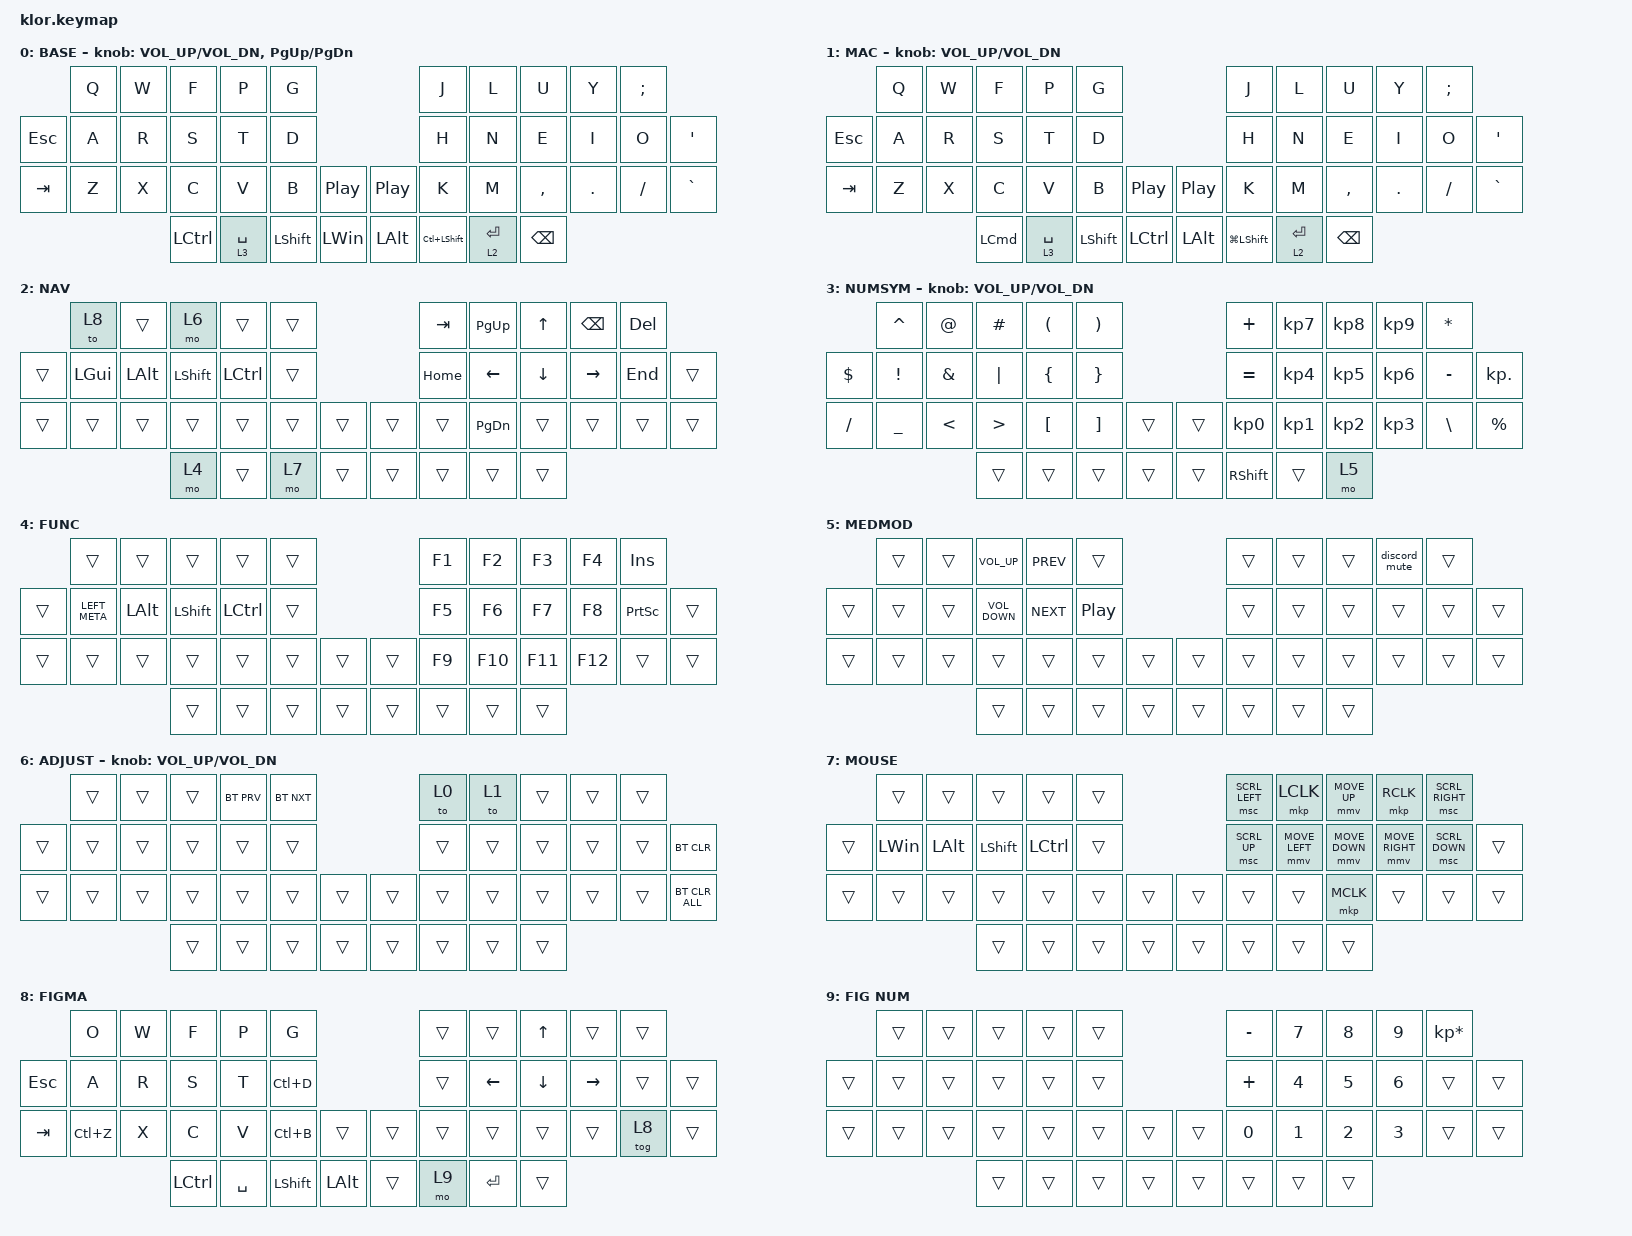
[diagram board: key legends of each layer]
//                               █         █    █            ▄▄▄▀▀▀▀▀▀▄▄▄        █▀▀▀▀▀▀▀▀▀▀█
//                               █        █     █          ▄▀            ▀▄      █          █
//                               █       █      █        ▄▀                ▀▄    █          █
//                               █      █       █        █                  █    █          █
//                               █     █        █       █                    █   █          █
//                               █    █         █       █                    █   █▄▄▄▄▄▄▄▄▄▄█
//                               █   █ █        █       █                    █   █      █
//                               █  █   █       █        █                  █    █       █
//                               █ █     █      █        ▀▄                ▄▀    █        █
//                               ██       █     █          ▀▄            ▄▀      █         █
//                               █         █    █▄▄▄▄▄▄▄▄    ▀▀▀▄▄▄▄▄▄▀▀▀        █          █
//
// ▄▄▄▄▄▄▄▄▄▄▄▄▄▄▄▄▄▄▄▄▄▄▄▄▄▄▄▄▄▄▄▄▄▄▄▄▄▄▄▄▄▄▄▄▄▄▄▄▄▄▄▄▄▄▄▄▄▄▄▄▄▄▄▄▄▄▄▄▄▄▄▄▄▄▄▄▄▄▄▄▄▄▄▄▄▄▄▄▄▄▄▄▄▄▄▄▄▄▄▄▄▄▄▄▄▄▄▄▄▄▄▄▄▄▄▄▄▄▄▄▄▄▄▄▄

#include <behaviors.dtsi>
#include <dt-bindings/zmk/bt.h>
#include <dt-bindings/zmk/keys.h>
#include <dt-bindings/zmk/pointing.h>

#define BASE   0
#define NAV  1
#define NUMSYM  2
#define FUNC 3
#define MEDMOD 4
#define ADJUST 5
#define MOUSE 6
#define ZMK_POINTING_DEFAULT_MOVE_VAL 1500  // default: 600
#define ZMK_POINTING_DEFAULT_SCRL_VAL 20    // default: 10

/ {
    behaviors {
        hm: homerow_mods {
            compatible = "zmk,behavior-hold-tap";
            label = "HOMEROW_MODS";
            #binding-cells = <2>;
            tapping-term-ms = <150>;
            quick_tap_ms = <0>;
            flavor = "tap-preferred";
            bindings = <&kp>, <&kp>;
        };
    };

    combos {
        compatible = "zmk,combos";

        combo_esc {
            timeout-ms = <50>;
            key-positions = <0 1>;
            bindings = <&kp ESC>;
        };

        fig_enter {
            bindings = <&kp ENTER>;
            key-positions = <14 13>;
            layers = <8>;
        };

        fig_L {
            bindings = <&kp L>;
            key-positions = <3 4>;
            layers = <8>;
        };

        fig_group {
            bindings = <&kp LC(G)>;
            key-positions = <2 3>;
            layers = <8>;
        };

        fig_del {
            bindings = <&kp DELETE>;
            key-positions = <15 14>;
        };
    };

    macros {
        discord_mute: discord_mute {
            compatible = "zmk,behavior-macro";
            #binding-cells = <0>;
            bindings = <&kp LS(LC(KP_ASTERISK))>;
            label = "DISCORD_MUTE";
        };
    };

    keymap {
        compatible = "zmk,keymap";

        // ▄▄▄▄▄▄▄▄▄▄▄▄▄▄▄▄▄▄▄▄▄▄▄▄▄▄▄▄▄▄▄▄▄▄▄▄▄▄▄▄▄▄▄▄▄▄▄▄▄▄▄▄▄▄▄▄▄▄▄▄▄▄▄▄▄▄▄▄▄▄▄▄▄▄▄▄▄▄▄▄▄▄▄▄▄▄▄▄▄▄▄▄▄▄▄▄▄▄▄▄▄▄▄▄▄▄▄▄▄▄▄▄▄▄▄▄▄▄▄▄▄▄▄▄▄▄▄▄▄▄▄▄▄▄▄▄▄▄▄▄▄▄

        base_layer {
            // ┌───────────────────────────────────────────────────────────┐

            label = "BASE";

            // └───────────────────────────────────────────────────────────┘
            /*           ┌─────────┬─────────┬─────────┬─────────┬─────────┐                    ┌─────────┬─────────┬─────────┬─────────┬─────────┐
             │    Q    │    W    │    F    │    P    │    G    │                    │    J    │    L    │    U    │    Y    │    ;    │   
   ┌─────────┼─────────┼─────────┼─────────┼─────────┼─────────┤                    ├─────────┼─────────┼─────────┼─────────┼─────────┼─────────┐
   │   TAB   │    A    │    R    │    S    │    T    │    D    │                    │    H    │    N    │    E    │    I    │    O    │    "    │
   ├─────────┼─────────┼─────────┼─────────┼─────────┼─────────┤╭────────╮╭────────╮├─────────┼─────────┼─────────┼─────────┼─────────┼─────────┤
   │   DEL   │    Z    │    X    │    C    │    V    │    B    ││  MUTE  ││PLY/PSE ││    K    │    M    │    ,    │    .    │    /    │    \    │
   └─────────┴─────────┴─────────┼─────────┼─────────┼─────────┼╰────────╯╰────────╯┼─────────┼─────────┼─────────┼─────────┴─────────┴─────────┘
                                 │  CTRL   │  LOWER  │  SPACE  │   ALT   ││ CMD/WIN │  ENTER  │  RAISE  │  BSPCE  │  
                                 └─────────┴─────────┴─────────┴─────────┘└─────────┴─────────┴─────────┴─────────┘ */

            bindings = <
            &kp Q  &kp W  &kp F      &kp P        &kp G                                               &kp J               &kp L        &kp U          &kp Y    &kp SEMI
&kp ESCAPE  &kp A  &kp R  &kp S      &kp T        &kp D                                               &kp H               &kp N        &kp E          &kp I    &kp O      &kp SQT
&kp TAB     &kp Z  &kp X  &kp C      &kp V        &kp B           &kp C_PLAY_PAUSE  &kp C_PLAY_PAUSE  &kp K               &kp M        &kp COMMA      &kp DOT  &kp SLASH  &kp GRAVE
                          &kp LCTRL  &lt 3 SPACE  &kp LEFT_SHIFT  &kp LEFT_WIN      &kp LEFT_ALT      &kp LC(LEFT_SHIFT)  &lt 2 ENTER  &kp BACKSPACE
            >;

            sensor-bindings = <&inc_dec_kp C_VOL_UP C_VOL_DN &inc_dec_kp PG_UP PG_DN>;
        };

        mac_layer {
            label = "MAC";
            bindings = <
            &kp Q  &kp W  &kp F             &kp P        &kp G                                               &kp J               &kp L        &kp U          &kp Y    &kp SEMI
&kp ESCAPE  &kp A  &kp R  &kp S             &kp T        &kp D                                               &kp H               &kp N        &kp E          &kp I    &kp O      &kp SQT
&kp TAB     &kp Z  &kp X  &kp C             &kp V        &kp B           &kp C_PLAY_PAUSE  &kp C_PLAY_PAUSE  &kp K               &kp M        &kp COMMA      &kp DOT  &kp SLASH  &kp GRAVE
                          &kp LEFT_COMMAND  &lt 3 SPACE  &kp LEFT_SHIFT  &kp LCTRL         &kp LALT          &kp LG(LEFT_SHIFT)  &lt 2 ENTER  &kp BACKSPACE
            >;

            sensor-bindings = <&inc_dec_kp C_VOL_UP C_VOL_DN>;
        };

        nav_layer {
            bindings = <
        &to 8         &trans        &mo 6           &trans     &trans                  &kp TAB   &kp PAGE_UP     &kp UP_ARROW    &kp BACKSPACE    &kp DEL
&trans  &kp LEFT_GUI  &kp LEFT_ALT  &kp LEFT_SHIFT  &kp LCTRL  &trans                  &kp HOME  &kp LEFT_ARROW  &kp DOWN_ARROW  &kp RIGHT_ARROW  &kp END  &trans
&trans  &trans        &trans        &trans          &trans     &trans  &trans  &trans  &trans    &kp PAGE_DOWN   &trans          &trans           &trans   &trans
                                    &mo 4           &trans     &mo 7   &trans  &trans  &trans    &trans          &trans
            >;

            label = "NAV";
        };

        numsym_layer {
            // ┌───────────────────────────────────────────────────────────┐

            label = "NUMSYM";

            // └───────────────────────────────────────────────────────────┘
            /*           ┌─────────┬─────────┬─────────┬─────────┬─────────┐                    ┌─────────┬─────────┬─────────┬─────────┬─────────┐
             │         │         │         │         │         │                    │         │         │    Ü    │         │         │
   ┌─────────┼─────────┼─────────┼─────────┼─────────┼─────────┤                    ├─────────┼─────────┼─────────┼─────────┼─────────┼─────────┐
   │    Ä    │         │    ß    │         │         │         │                    │         │         │         │         │    Ö    │         │
   ├─────────┼─────────┼─────────┼─────────┼─────────┼─────────┤╭────────╮╭────────╮├─────────┼─────────┼─────────┼─────────┼─────────┼─────────┤
   │         │         │         │         │         │         ││        ││        ││         │         │         │         │         │         │
   └─────────┴─────────┴─────────┼─────────┼─────────┼─────────┼╰────────╯╰────────╯┼─────────┼─────────┼─────────┼─────────┴─────────┴─────────┘
                                 │ ADJUST  │         │         │         ││         │         │         │         │  
                                 └─────────┴─────────┴─────────┴─────────┘└─────────┴─────────┴─────────┴─────────┘ */

            bindings = <
            &kp CARET        &kp AT_SIGN    &kp HASH          &kp LEFT_PARENTHESIS  &kp RIGHT_PARENTHESIS                  &kp PLUS         &kp KP_NUMBER_7  &kp KP_NUMBER_8  &kp KP_NUMBER_9  &kp ASTERISK
&kp DOLLAR  &kp EXCLAMATION  &kp AMPERSAND  &kp PIPE          &kp LEFT_BRACE        &kp RIGHT_BRACE                        &kp EQUAL        &kp KP_NUMBER_4  &kp KP_NUMBER_5  &kp KP_NUMBER_6  &kp MINUS      &kp KP_DOT
&kp SLASH   &kp UNDER        &kp LESS_THAN  &kp GREATER_THAN  &kp LEFT_BRACKET      &kp RIGHT_BRACKET      &trans  &trans  &kp KP_NUMBER_0  &kp KP_NUMBER_1  &kp KP_NUMBER_2  &kp KP_NUMBER_3  &kp BACKSLASH  &kp PERCENT
                                            &trans            &trans                &trans                 &trans  &trans  &kp RIGHT_SHIFT  &trans           &mo 5
            >;

            sensor-bindings = <&inc_dec_kp C_VOL_UP C_VOL_DN>;
        };

        function_layer {
            bindings = <
        &trans         &trans        &trans      &trans     &trans                  &kp F1  &kp F2   &kp F3   &kp F4   &kp INS
&trans  &kp LEFT_META  &kp LEFT_ALT  &kp LSHIFT  &kp LCTRL  &trans                  &kp F5  &kp F6   &kp F7   &kp F8   &kp PRINTSCREEN  &trans
&trans  &trans         &trans        &trans      &trans     &trans  &trans  &trans  &kp F9  &kp F10  &kp F11  &kp F12  &trans           &trans
                                     &trans      &trans     &trans  &trans  &trans  &trans  &trans   &trans
            >;

            label = "FUNC";
        };

        mod_layer {
            bindings = <
        &trans  &trans  &kp C_VOLUME_UP    &kp C_PREV  &trans                            &trans  &trans  &trans  &discord_mute  &trans
&trans  &trans  &trans  &kp C_VOLUME_DOWN  &kp C_NEXT  &kp C_PLAY_PAUSE                  &trans  &trans  &trans  &trans         &trans  &trans
&trans  &trans  &trans  &trans             &trans      &trans            &trans  &trans  &trans  &trans  &trans  &trans         &trans  &trans
                        &trans             &trans      &trans            &trans  &trans  &trans  &trans  &trans
            >;

            label = "MEDMOD";
        };

        adjust_layer {
            // ┌───────────────────────────────────────────────────────────┐

            label = "ADJUST";

            // └───────────────────────────────────────────────────────────┘
            /*           ┌─────────┬─────────┬─────────┬─────────┬─────────┐                    ┌─────────┬─────────┬─────────┬─────────┬─────────┐
             │         │         │         │         │         │                    │         │         │         │         │         │
   ┌─────────┼─────────┼─────────┼─────────┼─────────┼─────────┤                    ├─────────┼─────────┼─────────┼─────────┼─────────┼─────────┐
   │         │         │         │         │         │         │                    │         │         │         │         │         │         │
   ├─────────┼─────────┼─────────┼─────────┼─────────┼─────────┤╭────────╮╭────────╮├─────────┼─────────┼─────────┼─────────┼─────────┼─────────┤
   │         │         │         │         │         │         ││        ││        ││         │         │         │         │         │         │
   └─────────┴─────────┴─────────┼─────────┼─────────┼─────────┼╰────────╯╰────────╯┼─────────┼─────────┼─────────┼─────────┴─────────┴─────────┘
                                 │         │         │         │         ││         │         │         │         │  
                                 └─────────┴─────────┴─────────┴─────────┘└─────────┴─────────┴─────────┴─────────┘ */

            bindings = <
        &trans  &trans  &trans  &bt BT_PRV  &bt BT_NXT                  &to 0   &to 1   &trans  &trans  &trans
&trans  &trans  &trans  &trans  &trans      &trans                      &trans  &trans  &trans  &trans  &trans  &bt BT_CLR
&trans  &trans  &trans  &trans  &trans      &trans      &trans  &trans  &trans  &trans  &trans  &trans  &trans  &bt BT_CLR_ALL
                        &trans  &trans      &trans      &trans  &trans  &trans  &trans  &trans
            >;

            sensor-bindings = <&inc_dec_kp C_VOL_UP C_VOL_DN>;
        };

        mouse_layer {
            bindings = <
        &trans        &trans        &trans          &trans     &trans                  &msc SCRL_LEFT  &mkp LCLK       &mmv MOVE_UP    &mkp RCLK        &msc SCRL_RIGHT
&trans  &kp LEFT_WIN  &kp LEFT_ALT  &kp LEFT_SHIFT  &kp LCTRL  &trans                  &msc SCRL_UP    &mmv MOVE_LEFT  &mmv MOVE_DOWN  &mmv MOVE_RIGHT  &msc SCRL_DOWN   &trans
&trans  &trans        &trans        &trans          &trans     &trans  &trans  &trans  &trans          &trans          &mkp MCLK       &trans           &trans           &trans
                                    &trans          &trans     &trans  &trans  &trans  &trans          &trans          &trans
            >;

            label = "MOUSE";
        };

        figma_layer {
            bindings = <
            &kp O      &kp W  &kp F      &kp P      &kp G                                 &trans  &trans          &kp UP_ARROW    &trans           &trans
&kp ESCAPE  &kp A      &kp R  &kp S      &kp T      &kp LC(D)                             &trans  &kp LEFT_ARROW  &kp DOWN_ARROW  &kp RIGHT_ARROW  &trans  &trans
&kp TAB     &kp LC(Z)  &kp X  &kp C      &kp V      &kp LC(B)       &trans        &trans  &trans  &trans          &trans          &trans           &tog 8  &trans
                              &kp LCTRL  &kp SPACE  &kp LEFT_SHIFT  &kp LEFT_ALT  &trans  &mo 9   &kp ENTER       &trans
            >;

            label = "FIGMA";
        };

        fignum_layer {
            bindings = <
        &trans  &trans  &trans  &trans  &trans                  &kp MINUS  &kp N7  &kp N8  &kp N9  &kp KP_ASTERISK
&trans  &trans  &trans  &trans  &trans  &trans                  &kp PLUS   &kp N4  &kp N5  &kp N6  &trans           &trans
&trans  &trans  &trans  &trans  &trans  &trans  &trans  &trans  &kp N0     &kp N1  &kp N2  &kp N3  &trans           &trans
                        &trans  &trans  &trans  &trans  &trans  &trans     &trans  &trans
            >;

            label = "FIG NUM";
        };
    };
};
